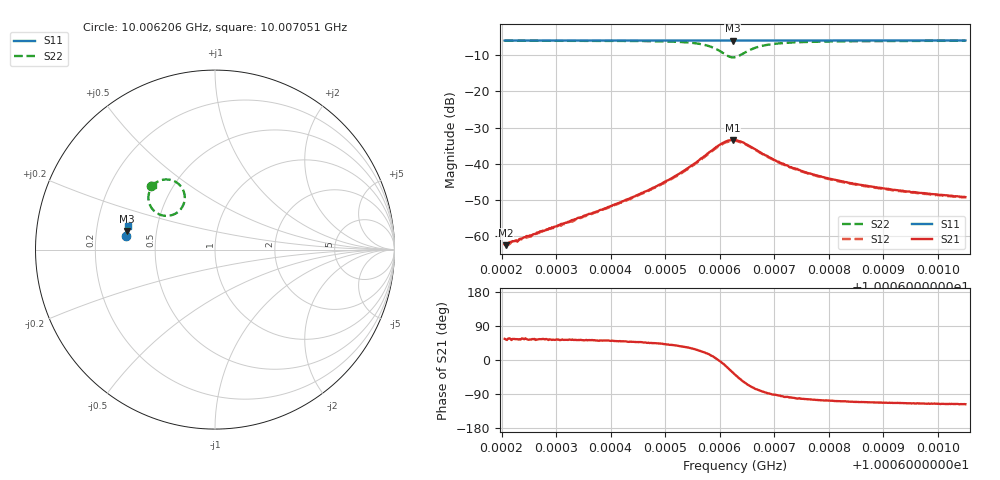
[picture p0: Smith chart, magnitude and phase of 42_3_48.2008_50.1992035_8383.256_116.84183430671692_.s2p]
#  HZ  S  RI  R  50.00
! Rohde & Schwarz Vector Network Analyzer
! Rohde-Schwarz,ZNB20-2Port,1311601062101988,3.16
! Created: UTC 3/20/2024, 11:37:55 AM
! freq[Hz]  re:S11  im:S11  re:S21  im:S21  re:S12  im:S12  re:S22  im:S22
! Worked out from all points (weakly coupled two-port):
!   401 points, 10.006206 GHz to 10.007051 GHz, reference 50 ohm
!   highest |S21| = -33.45 dB at 10.006624 GHz (marker M1); lowest = -62.5 dB at 10.006208 GHz (marker M2)
!   lowest |S11| = -6.0 dB at 10.006624 GHz (marker M3), VSWR 3.00, Z = 16.8 + j4.56 ohm
!   |S11| at or under -10 dB: nowhere
!   |S22| runs from -10.6 to -6.0 dB; largest |S21 - S12| = 0.0015
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1.00062056e10  -0.4963 0.0755  0.000433 0.00064  0.000394 0.000614  -0.3543 0.3521
1.00062077e10  -0.4962 0.0756  0.000438 0.000613  0.00044 0.000627  -0.3541 0.3523
1.00062289e10  -0.4959 0.077  0.000481 0.000688  0.000447 0.000741  -0.3522 0.354
1.00063472e10  -0.4951 0.085  0.00111 0.00145  0.00104 0.00149  -0.3397 0.3655
1.00064317e10  -0.4941 0.0905  0.00217 0.00242  0.00199 0.0025  -0.324 0.3761
1.00064888e10  -0.4933 0.0942  0.0037 0.00352  0.00347 0.00358  -0.3041 0.3853
1.0006531e10  -0.4928 0.0971  0.00629 0.0045  0.00585 0.00466  -0.2759 0.3909
1.00065754e10  -0.4917 0.1001  0.0127 0.0041  0.0121 0.00452  -0.2148 0.3747
1.00065902e10  -0.4911 0.101  0.0161 0.00202  0.0155 0.00274  -0.1868 0.3478
1.0006605e10  -0.4903 0.1015  0.019 -0.00272  0.0186 -0.00166  -0.1687 0.298
1.00066155e10  -0.4903 0.1016  0.0195 -0.00759  0.0191 -0.00633  -0.1756 0.2517
1.0006624e10  -0.4901 0.1017  0.0179 -0.0115  0.018 -0.0101  -0.1973 0.2181
1.00066282e10  -0.4902 0.1018  0.0166 -0.0133  0.017 -0.0118  -0.2127 0.2053
1.00066451e10  -0.4906 0.1025  0.0101 -0.0165  0.0108 -0.0155  -0.2817 0.1886
1.00066599e10  -0.4908 0.1033  0.0051 -0.0159  0.00593 -0.0154  -0.3261 0.2049
1.00066768e10  -0.4911 0.1045  0.00189 -0.0138  0.00257 -0.0137  -0.3532 0.2318
1.00067254e10  -0.4911 0.1079  -0.00121 -0.00932  -0.000708 -0.00913  -0.371 0.2861
1.00067698e10  -0.4905 0.111  -0.0018 -0.00696  -0.00142 -0.00691  -0.3687 0.3113
1.00068395e10  -0.4896 0.1155  -0.00187 -0.00511  -0.00156 -0.00509  -0.3616 0.3323
1.00069114e10  -0.4887 0.1201  -0.00173 -0.00411  -0.00155 -0.00411  -0.3551 0.3448
1.00069916e10  -0.4877 0.1254  -0.00162 -0.00343  -0.00142 -0.00345  -0.3487 0.3545
1.00070508e10  -0.4867 0.1291  -0.00156 -0.0031  -0.0014 -0.00313  -0.3445 0.3601
